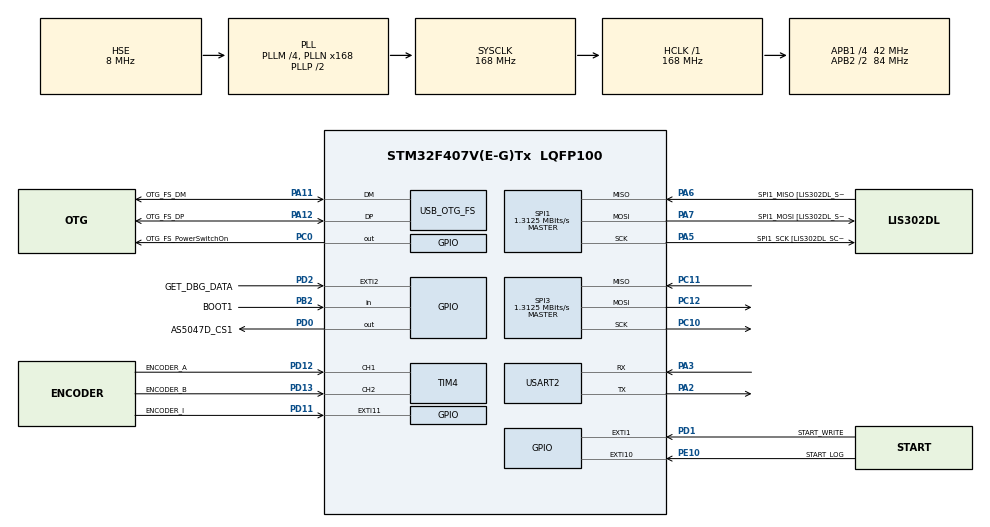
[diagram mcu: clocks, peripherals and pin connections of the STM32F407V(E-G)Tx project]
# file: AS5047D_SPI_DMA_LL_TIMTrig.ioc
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Dma.Request0=SPI3_RX
Dma.Request1=SPI3_TX
Dma.SPI3_RX.0.Direction=DMA_PERIPH_TO_MEMORY
Dma.SPI3_RX.0.FIFOMode=DMA_FIFOMODE_DISABLE
Dma.SPI3_RX.0.Instance=DMA1_Stream0
Dma.SPI3_RX.0.MemDataAlignment=DMA_MDATAALIGN_HALFWORD
Dma.SPI3_RX.0.MemInc=DMA_MINC_ENABLE
Dma.SPI3_RX.0.Mode=DMA_NORMAL
Dma.SPI3_RX.0.PeriphDataAlignment=DMA_PDATAALIGN_HALFWORD
Dma.SPI3_RX.0.PeriphInc=DMA_PINC_DISABLE
Dma.SPI3_RX.0.Priority=DMA_PRIORITY_LOW
Dma.SPI3_TX.1.Direction=DMA_MEMORY_TO_PERIPH
Dma.SPI3_TX.1.FIFOMode=DMA_FIFOMODE_DISABLE
Dma.SPI3_TX.1.Instance=DMA1_Stream5
Dma.SPI3_TX.1.MemDataAlignment=DMA_MDATAALIGN_HALFWORD
Dma.SPI3_TX.1.MemInc=DMA_MINC_ENABLE
Dma.SPI3_TX.1.Mode=DMA_NORMAL
Dma.SPI3_TX.1.PeriphDataAlignment=DMA_PDATAALIGN_HALFWORD
Dma.SPI3_TX.1.PeriphInc=DMA_PINC_DISABLE
Dma.SPI3_TX.1.Priority=DMA_PRIORITY_LOW
Mcu.Family=STM32F4
Mcu.Name=STM32F407V(E-G)Tx
Mcu.Package=LQFP100
Mcu.UserConstants=ENCODER_PERIOD,1999
NVIC.DMA1_Stream0_IRQn=true\:1\:1\:true\:false\:true\:false\:true\:true
NVIC.DMA1_Stream5_IRQn=true\:1\:1\:true\:false\:true\:false\:true\:true
NVIC.EXTI15_10_IRQn=true\:0\:0\:false\:false\:true\:true\:true\:true
NVIC.EXTI1_IRQn=true\:0\:0\:false\:false\:true\:true\:true\:true
NVIC.EXTI2_IRQn=true\:0\:0\:false\:false\:true\:true\:true\:true
NVIC.OTG_FS_IRQn=true\:0\:0\:false\:false\:true\:false\:true\:true
NVIC.PriorityGroup=NVIC_PRIORITYGROUP_2
NVIC.SPI1_IRQn=true\:1\:0\:true\:false\:true\:true\:true\:true
NVIC.TIM1_BRK_TIM9_IRQn=true\:2\:2\:true\:false\:true\:true\:true\:true
NVIC.TIM4_IRQn=true\:0\:0\:false\:false\:true\:true\:true\:true
PA10.GPIO_Label=OTG_FS_ID
PA10.GPIO_Mode=GPIO_MODE_AF_PP
PA10.GPIO_PuPd=GPIO_NOPULL
PA10.GPIO_Speed=GPIO_SPEED_FREQ_LOW
PA10.Signal=USB_OTG_FS_ID
PA11.GPIO_Label=OTG_FS_DM
PA11.GPIO_Mode=GPIO_MODE_AF_PP
PA11.GPIO_PuPd=GPIO_NOPULL
PA11.GPIO_Speed=GPIO_SPEED_FREQ_LOW
PA11.Mode=Device_Only
PA11.Signal=USB_OTG_FS_DM
PA12.GPIO_Label=OTG_FS_DP
PA12.GPIO_Mode=GPIO_MODE_AF_PP
PA12.GPIO_PuPd=GPIO_NOPULL
PA12.GPIO_Speed=GPIO_SPEED_FREQ_LOW
PA12.Mode=Device_Only
PA12.Signal=USB_OTG_FS_DP
PA13.GPIO_Label=SWDIO
PA13.Mode=Serial_Wire
PA13.Signal=SYS_JTMS-SWDIO
PA14.GPIO_Label=SWCLK
PA14.Mode=Serial_Wire
PA14.Signal=SYS_JTCK-SWCLK
PA2.Mode=Asynchronous
PA2.Signal=USART2_TX
PA3.Mode=Asynchronous
PA3.Signal=USART2_RX
PA5.GPIO_Label=SPI1_SCK [LIS302DL_SCL/SPC]
PA5.GPIO_Mode=GPIO_MODE_AF_PP
PA5.GPIO_PuPd=GPIO_NOPULL
PA5.GPIO_Speed=GPIO_SPEED_FREQ_LOW
PA5.Mode=Full_Duplex_Master
PA5.Signal=SPI1_SCK
PA6.GPIO_Label=SPI1_MISO [LIS302DL_SDO]
PA6.GPIO_Mode=GPIO_MODE_AF_PP
PA6.GPIO_PuPd=GPIO_NOPULL
PA6.GPIO_Speed=GPIO_SPEED_FREQ_LOW
PA6.Mode=Full_Duplex_Master
PA6.Signal=SPI1_MISO
PA7.GPIO_Label=SPI1_MOSI [LIS302DL_SDA/SDI/SDO]
PA7.GPIO_Mode=GPIO_MODE_AF_PP
PA7.GPIO_PuPd=GPIO_NOPULL
PA7.GPIO_Speed=GPIO_SPEED_FREQ_LOW
PA7.Mode=Full_Duplex_Master
PA7.Signal=SPI1_MOSI
PA9.GPIO_Label=VBUS_FS
PA9.GPIO_Mode=GPIO_MODE_INPUT
PA9.GPIO_PuPd=GPIO_NOPULL
PA9.Signal=USB_OTG_FS_VBUS
PB2.GPIO_Label=BOOT1
PB2.GPIO_Mode=GPIO_MODE_INPUT
PB2.GPIO_PuPd=GPIO_NOPULL
PB2.Signal=GPIO_Input
PB3.GPIO_Label=SWO
PB3.Signal=SYS_JTDO-SWO
PC0.GPIO_Label=OTG_FS_PowerSwitchOn
PC0.GPIO_PuPd=GPIO_NOPULL
PC0.GPIO_Speed=GPIO_SPEED_FREQ_LOW
PC0.PinState=GPIO_PIN_SET
PC0.Signal=GPIO_Output
PC10.Mode=Full_Duplex_Master
PC10.Signal=SPI3_SCK
PC11.Mode=Full_Duplex_Master
PC11.Signal=SPI3_MISO
PC12.Mode=Full_Duplex_Master
PC12.Signal=SPI3_MOSI
PC14-OSC32_IN.GPIO_Label=PC14-OSC32_IN
PC14-OSC32_IN.Mode=LSE-External-Oscillator
PC14-OSC32_IN.Signal=RCC_OSC32_IN
PC15-OSC32_OUT.GPIO_Label=PC15-OSC32_OUT
PC15-OSC32_OUT.Mode=LSE-External-Oscillator
PC15-OSC32_OUT.Signal=RCC_OSC32_OUT
PD0.GPIO_Label=AS5047D_CS1
PD0.PinState=GPIO_PIN_SET
PD0.Signal=GPIO_Output
PD1.GPIO_Label=START_WRITE
PD1.GPIO_ModeDefaultEXTI=GPIO_MODE_IT_FALLING
PD1.GPIO_PuPd=GPIO_PULLUP
PD1.Signal=GPXTI1
PD11.GPIO_Label=ENCODER_I
PD11.Signal=GPXTI11
PD12.GPIO_Label=ENCODER_A
PD12.Signal=S_TIM4_CH1
PD13.GPIO_Label=ENCODER_B
PD13.Signal=S_TIM4_CH2
PD2.GPIO_Label=GET_DBG_DATA
PD2.Signal=GPXTI2
PE10.GPIO_Label=START_LOG
PE10.Signal=GPXTI10
PH0-OSC_IN.GPIO_Label=PH0-OSC_IN
PH0-OSC_IN.Mode=HSE-External-Oscillator
PH0-OSC_IN.Signal=RCC_OSC_IN
PH1-OSC_OUT.GPIO_Label=PH1-OSC_OUT
PH1-OSC_OUT.Mode=HSE-External-Oscillator
PH1-OSC_OUT.Signal=RCC_OSC_OUT
ProjectManager.HeapSize=0x200
ProjectManager.StackSize=0x400
ProjectManager.TargetToolchain=STM32CubeIDE
RCC.48MHZClocksFreq_Value=48000000
RCC.AHBFreq_Value=168000000
RCC.APB1CLKDivider=RCC_HCLK_DIV4
RCC.APB1Freq_Value=42000000
RCC.APB1TimFreq_Value=84000000
RCC.APB2CLKDivider=RCC_HCLK_DIV2
RCC.APB2Freq_Value=84000000
RCC.APB2TimFreq_Value=168000000
RCC.CortexFreq_Value=168000000
RCC.HCLKFreq_Value=168000000
RCC.HSE_VALUE=8000000
RCC.HSI_VALUE=16000000
RCC.PLLM=4
RCC.PLLN=168
RCC.PLLQ=7
RCC.SYSCLKFreq_VALUE=168000000
RCC.SYSCLKSource=RCC_SYSCLKSOURCE_PLLCLK
RCC.VCOOutputFreq_Value=336000000
SH.S_TIM4_CH1.0=TIM4_CH1,Encoder_Interface
SH.S_TIM4_CH2.0=TIM4_CH2,Encoder_Interface
SPI1.BaudRatePrescaler=SPI_BAUDRATEPRESCALER_64
SPI1.BaudRatePrescaler-Full_Duplex_Master=SPI_BAUDRATEPRESCALER_2
SPI1.CLKPhase=SPI_PHASE_2EDGE
SPI1.CRCCalculation=SPI_CRCCALCULATION_DISABLE
SPI1.CalculateBaudRate=1.3125 MBits/s
SPI1.CalculateBaudRate-Full_Duplex_Master=42.0 MBits/s
SPI1.DataSize=SPI_DATASIZE_16BIT
SPI1.Direction=SPI_DIRECTION_2LINES
SPI1.Mode=SPI_MODE_MASTER
SPI1.Mode-Full_Duplex_Master=SPI_MODE_MASTER
SPI1.VirtualType=VM_MASTER
SPI3.BaudRatePrescaler=SPI_BAUDRATEPRESCALER_32
SPI3.CLKPhase=SPI_PHASE_2EDGE
SPI3.CalculateBaudRate=1.3125 MBits/s
SPI3.DataSize=SPI_DATASIZE_16BIT
SPI3.Direction=SPI_DIRECTION_2LINES
SPI3.Mode=SPI_MODE_MASTER
SPI3.VirtualType=VM_MASTER
TIM4.AutoReloadPreload=TIM_AUTORELOAD_PRELOAD_DISABLE
TIM4.CounterMode=TIM_COUNTERMODE_UP
TIM4.EncoderMode=TIM_ENCODERMODE_TI12
TIM4.IC1Polarity=TIM_ICPOLARITY_FALLING
TIM4.IC2Polarity=TIM_ICPOLARITY_FALLING
TIM4.Period=ENCODER_PERIOD
TIM9.AutoReloadPreload=TIM_AUTORELOAD_PRELOAD_ENABLE
TIM9.ClockDivision=TIM_CLOCKDIVISION_DIV1
TIM9.Period=999
TIM9.Prescaler=71
USART2.VirtualMode=VM_ASYNC
USB_DEVICE.CLASS_NAME_FS=CDC
USB_DEVICE.VirtualMode-CDC_FS=Cdc
USB_DEVICE.VirtualModeFS=Cdc_FS
USB_OTG_FS.VirtualMode=Device_Only
VP_TIM9_VS_ClockSourceINT.Mode=Internal
VP_USB_DEVICE_VS_USB_DEVICE_CDC_FS.Mode=CDC_FS
board=STM32F407G-DISC1

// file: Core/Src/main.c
/* USER CODE BEGIN Header */
/**
  ******************************************************************************
  * @file           : main.c
  * @brief          : Main program body
  ******************************************************************************
  * @attention
  *
  * Copyright (c) 2022 STMicroelectronics.
  * All rights reserved.
  *
  * This software is licensed under terms that can be found in the LICENSE file
  * in the root directory of this software component.
  * If no LICENSE file comes with this software, it is provided AS-IS.
  *
  ******************************************************************************
  */
/* USER CODE END Header */
#include "main.h"
#include "dma.h"
#include "spi.h"
#include "tim.h"
#include "usart.h"
#include "usb_device.h"
#include "gpio.h"

/* USER CODE BEGIN Includes */
#include "AS5047D.h"
#include "debug_scope.h"
#include "usbd_cdc_if.h"
/* USER CODE END Includes */

/* USER CODE BEGIN PV */
DebugCommand debugCommand = 0;
volatile uint8_t timTrig = 0;
DebugScope_Handle_t debugData =
	{
        .sz = DEBUGSCOPESIZE,
        .curCh = 1,
        .i1 = 0,
        .i2 = 0,
        .i3 = 0,
        .i4 = 0,
        .i5 = 0,
        .startWriteFlag = false
    };
int32_t encoderAngle = 0;
float spiAngle = 0;

uint16_t ERRFL = 0;
uint16_t PROG = 0;
uint16_t DIAAGC = 0;
uint16_t ANGLEUNC = 0;

uint16_t NOP = 0;
uint16_t CORDICMAG = 0;
uint16_t ANGLECOM = 0;
uint16_t ZPOSM = 0;
uint16_t ZPOSL = 0;
uint16_t SETTINGS1 = 0;
uint16_t SETTINGS2 = 0;

int32_t timerData = 0;
float true_angle = 0.0f;

/* USER CODE END PV */

void SystemClock_Config(void);

int main(void)
{

  /* MCU Configuration--------------------------------------------------------*/

  /* Reset of all peripherals, Initializes the Flash interface and the Systick. */
  HAL_Init();

  /* Configure the system clock */
  SystemClock_Config();

  /* Initialize all configured peripherals */
  MX_GPIO_Init();
  MX_DMA_Init();
  MX_SPI1_Init();
  MX_TIM9_Init();
  MX_SPI3_Init();
  MX_TIM4_Init();
  MX_USART2_UART_Init();
  MX_USB_DEVICE_Init();
  /* USER CODE BEGIN 2 */

  LL_TIM_EnableCounter(TIM4);
  /* Initiaize AS5047D */
  uint16_t nop,AGC;

  uint8_t errorFlag = AS5047D_Read(AS5047D_CS1_GPIO_Port, AS5047D_CS1_Pin, AS5047D_NOP, &nop);
  if (errorFlag != 0)    errorFlag = AS5047D_Read(AS5047D_CS1_GPIO_Port, AS5047D_CS1_Pin, AS5047D_ERRFL, &ERRFL);
  errorFlag = AS5047D_Get_AGC_Value(&AGC);
  if (errorFlag != 0)    errorFlag = AS5047D_Read(AS5047D_CS1_GPIO_Port, AS5047D_CS1_Pin, AS5047D_ERRFL, &ERRFL);
  errorFlag = AS5047D_Read(AS5047D_CS1_GPIO_Port, AS5047D_CS1_Pin, AS5047D_ERRFL, &ERRFL);
  if (errorFlag != 0)    errorFlag = AS5047D_Read(AS5047D_CS1_GPIO_Port, AS5047D_CS1_Pin, AS5047D_ERRFL, &ERRFL);
  errorFlag = AS5047D_Read(AS5047D_CS1_GPIO_Port, AS5047D_CS1_Pin, AS5047D_ERRFL, &ERRFL);
  if (errorFlag != 0)    errorFlag = AS5047D_Read(AS5047D_CS1_GPIO_Port, AS5047D_CS1_Pin, AS5047D_ERRFL, &ERRFL);
  errorFlag = AS5047D_Read(AS5047D_CS1_GPIO_Port, AS5047D_CS1_Pin, AS5047D_PROG, &PROG);
  if (errorFlag != 0)    errorFlag = AS5047D_Read(AS5047D_CS1_GPIO_Port, AS5047D_CS1_Pin, AS5047D_ERRFL, &ERRFL);
  errorFlag = AS5047D_Read(AS5047D_CS1_GPIO_Port, AS5047D_CS1_Pin, AS5047D_ANGLEUNC, &ANGLEUNC);
  if (errorFlag != 0)    errorFlag = AS5047D_Read(AS5047D_CS1_GPIO_Port, AS5047D_CS1_Pin, AS5047D_ERRFL, &ERRFL);
  errorFlag = AS5047D_Read(AS5047D_CS1_GPIO_Port, AS5047D_CS1_Pin, AS5047D_CORDICMAG, &CORDICMAG);
  if (errorFlag != 0)    errorFlag = AS5047D_Read(AS5047D_CS1_GPIO_Port, AS5047D_CS1_Pin, AS5047D_ERRFL, &ERRFL);
  errorFlag = AS5047D_Read(AS5047D_CS1_GPIO_Port, AS5047D_CS1_Pin, AS5047D_ANGLECOM, &ANGLECOM);
  if (errorFlag != 0)    errorFlag = AS5047D_Read(AS5047D_CS1_GPIO_Port, AS5047D_CS1_Pin, AS5047D_ERRFL, &ERRFL);
  errorFlag = AS5047D_Read(AS5047D_CS1_GPIO_Port, AS5047D_CS1_Pin, AS5047D_ZPOSM, &ZPOSM);
  if (errorFlag != 0)    errorFlag = AS5047D_Read(AS5047D_CS1_GPIO_Port, AS5047D_CS1_Pin, AS5047D_ERRFL, &ERRFL);
  errorFlag = AS5047D_Read(AS5047D_CS1_GPIO_Port, AS5047D_CS1_Pin, AS5047D_ZPOSL, &ZPOSL);
  if (errorFlag != 0)    errorFlag = AS5047D_Read(AS5047D_CS1_GPIO_Port, AS5047D_CS1_Pin, AS5047D_ERRFL, &ERRFL);
  errorFlag = AS5047D_Read(AS5047D_CS1_GPIO_Port, AS5047D_CS1_Pin, AS5047D_SETTINGS1, &SETTINGS1);
  if (errorFlag != 0)    errorFlag = AS5047D_Read(AS5047D_CS1_GPIO_Port, AS5047D_CS1_Pin, AS5047D_ERRFL, &ERRFL);
  errorFlag = AS5047D_Read(AS5047D_CS1_GPIO_Port, AS5047D_CS1_Pin, AS5047D_SETTINGS2, &SETTINGS2);
  if (errorFlag != 0)    errorFlag = AS5047D_Read(AS5047D_CS1_GPIO_Port, AS5047D_CS1_Pin, AS5047D_ERRFL, &ERRFL);

  errorFlag = AS5047D_Get_True_Angle_Value(&true_angle);
    //
    //
    //  AS5047D_Init();
    //  AS5047D_SetZero();

    LL_TIM_EnableCounter(TIM9);
    // HAL_TIM_Base_Start(&htim9);
    /* USER CODE END 2 */

    /* Infinite loop */
    /* USER CODE BEGIN WHILE */
    char buf[10] = {"my test"};
    char inData[10] = "";
    uint32_t inDataSZ = strlen(inData);
    while (1)
    {
      while (!timTrig)
        ;

      errorFlag = AS5047D_Get_True_Angle_Value(&spiAngle);
      if (errorFlag != 0)
      {
        errorFlag = AS5047D_Read(AS5047D_CS1_GPIO_Port, AS5047D_CS1_Pin, AS5047D_ERRFL, &ERRFL);
        errorFlag++;
      }
      timTrig = 0;
      //
      DebugScopeInsertData(&debugData, 2, (int)(spiAngle*50));

      // CDC_Transmit_FS(buf, strlen(buf));
      if (VCP_retrieveInputData(inData, &inDataSZ))
        if (strlen(inData) > 0)
        {
          debugCommand = inData[0]; // atoi(buf);
          if (debugCommand == START_WRITE)
            DebugScopeStartWrite(&debugData);
          else if (debugCommand == TRANSMIT_DATA)
            CDC_Transmit_FS((uint8_t*)(debugData.Ch1), sizeof(debugData.Ch1) * 2);
        }

      /* USER CODE END WHILE */

    }
  }

void SystemClock_Config(void)
{
  RCC_OscInitTypeDef RCC_OscInitStruct = {0};
  RCC_ClkInitTypeDef RCC_ClkInitStruct = {0};

  /** Configure the main internal regulator output voltage
  */
  __HAL_RCC_PWR_CLK_ENABLE();
  __HAL_PWR_VOLTAGESCALING_CONFIG(PWR_REGULATOR_VOLTAGE_SCALE1);

  /** Initializes the RCC Oscillators according to the specified parameters
  * in the RCC_OscInitTypeDef structure.
  */
  RCC_OscInitStruct.OscillatorType = RCC_OSCILLATORTYPE_HSE;
  RCC_OscInitStruct.HSEState = RCC_HSE_ON;
  RCC_OscInitStruct.PLL.PLLState = RCC_PLL_ON;
  RCC_OscInitStruct.PLL.PLLSource = RCC_PLLSOURCE_HSE;
  RCC_OscInitStruct.PLL.PLLM = 4;
  RCC_OscInitStruct.PLL.PLLN = 168;
  RCC_OscInitStruct.PLL.PLLP = RCC_PLLP_DIV2;
  RCC_OscInitStruct.PLL.PLLQ = 7;
  if (HAL_RCC_OscConfig(&RCC_OscInitStruct) != HAL_OK)
  {
    Error_Handler();
  }

  /** Initializes the CPU, AHB and APB buses clocks
  */
  RCC_ClkInitStruct.ClockType = RCC_CLOCKTYPE_HCLK|RCC_CLOCKTYPE_SYSCLK
                              |RCC_CLOCKTYPE_PCLK1|RCC_CLOCKTYPE_PCLK2;
  RCC_ClkInitStruct.SYSCLKSource = RCC_SYSCLKSOURCE_PLLCLK;
  RCC_ClkInitStruct.AHBCLKDivider = RCC_SYSCLK_DIV1;
  RCC_ClkInitStruct.APB1CLKDivider = RCC_HCLK_DIV4;
  RCC_ClkInitStruct.APB2CLKDivider = RCC_HCLK_DIV2;

  if (HAL_RCC_ClockConfig(&RCC_ClkInitStruct, FLASH_LATENCY_5) != HAL_OK)
  {
    Error_Handler();
  }
}

/* USER CODE BEGIN 4 */
void HAL_GPIO_EXTI_Callback(uint16_t GPIO_Pin)
{
	if (GPIO_Pin == START_WRITE_Pin)
	{
		debugData.startWriteFlag = true;
	}
	else if (GPIO_Pin == GET_DBG_DATA_Pin)
	{
		HAL_UART_Transmit (&huart2, debugData.Ch1, sizeof (debugData.Ch1)*2, 10);
	}
}
void tim9eventFunction()
{
  DebugScopeInsertData(&debugData, 1, encoderAngle);
}
/* USER CODE END 4 */

void Error_Handler(void)
{
  __disable_irq();
  while (1)
  {
  }
}
